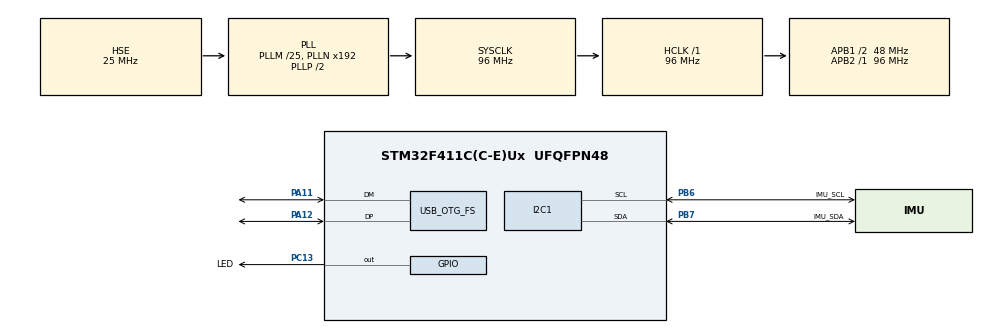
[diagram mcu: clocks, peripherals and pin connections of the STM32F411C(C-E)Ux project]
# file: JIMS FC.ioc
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I2C1.DualAddressMode=I2C_DUALADDRESS_DISABLE
I2C1.DutyCycle=I2C_DUTYCYCLE_2
I2C1.GeneralCallMode=I2C_GENERALCALL_ENABLE
I2C1.I2C_Mode=I2C_Fast
Mcu.Family=STM32F4
Mcu.Name=STM32F411C(C-E)Ux
Mcu.Package=UFQFPN48
NVIC.OTG_FS_IRQn=true\:0\:0\:false\:false\:true\:false\:true\:true
NVIC.PriorityGroup=NVIC_PRIORITYGROUP_4
PA11.Mode=Device_Only
PA11.Signal=USB_OTG_FS_DM
PA12.Mode=Device_Only
PA12.Signal=USB_OTG_FS_DP
PB6.GPIO_Label=IMU_SCL
PB6.Mode=I2C
PB6.Signal=I2C1_SCL
PB7.GPIO_Label=IMU_SDA
PB7.Mode=I2C
PB7.Signal=I2C1_SDA
PC13-ANTI_TAMP.GPIO_Label=LED
PC13-ANTI_TAMP.Signal=GPIO_Output
PH0\ -\ OSC_IN.Mode=HSE-External-Oscillator
PH0\ -\ OSC_IN.Signal=RCC_OSC_IN
PH1\ -\ OSC_OUT.Mode=HSE-External-Oscillator
PH1\ -\ OSC_OUT.Signal=RCC_OSC_OUT
ProjectManager.HeapSize=0x200
ProjectManager.StackSize=0x400
ProjectManager.TargetToolchain=STM32CubeIDE
RCC.48MHZClocksFreq_Value=48000000
RCC.AHBFreq_Value=96000000
RCC.APB1CLKDivider=RCC_HCLK_DIV2
RCC.APB1Freq_Value=48000000
RCC.APB1TimFreq_Value=96000000
RCC.APB2Freq_Value=96000000
RCC.APB2TimFreq_Value=96000000
RCC.CortexFreq_Value=96000000
RCC.HCLKFreq_Value=96000000
RCC.HSE_VALUE=25000000
RCC.HSI_VALUE=16000000
RCC.LSE_VALUE=32768
RCC.PLLM=25
RCC.SYSCLKFreq_VALUE=96000000
RCC.SYSCLKSource=RCC_SYSCLKSOURCE_PLLCLK
RCC.VCOOutputFreq_Value=192000000
USB_DEVICE.CLASS_NAME_FS=CDC
USB_DEVICE.VirtualMode=Cdc
USB_DEVICE.VirtualModeFS=Cdc_FS
USB_OTG_FS.VirtualMode=Device_Only
VP_USB_DEVICE_VS_USB_DEVICE_CDC_FS.Mode=CDC_FS
board=custom

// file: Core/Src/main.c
/* USER CODE BEGIN Header */
/**
 ******************************************************************************
 * @file           : main.c
 * @brief          : Main program body
 ******************************************************************************
 * @attention
 *
 * Copyright (c) 2023 STMicroelectronics.
 * All rights reserved.
 *
 * This software is licensed under terms that can be found in the LICENSE file
 * in the root directory of this software component.
 * If no LICENSE file comes with this software, it is provided AS-IS.
 *
 ******************************************************************************
 */
/* USER CODE END Header */
#include "main.h"
#include "usb_device.h"

/* USER CODE BEGIN Includes */
#include "MPU6050.h"
#include "FIRFilter.h"
#include "RCFilter.h"
#include "FirstOrderIIR.h"
#include <math.h>

/* USER CODE END Includes */

/* USER CODE BEGIN PD */
#define SAMPLE_TIME_LOG_MS 50 	/* 50ms ==> 20Hz */
#define SAMPLE_TIME_LED_MS 500 		/* 500ms ==> 2Hz */
#define LOOP_TIME_MS 1 /* 1000us == 1ms => 1kHz */
#define ALPHA 0.15f /* Alpha value for the complementary filter */
#define ACC_FILTER_ALPHA 0.10f /* Alpha value for accelerometer IIR filter */
#define GYRO_FILTER_ALPHA 0.01f /* Alpha value for gyro IIR filter */
/* USER CODE END PD */

I2C_HandleTypeDef hi2c1;

/* USER CODE BEGIN PV */
/* Create an IMU instance */
MPU6050 IMU;

/* Create FIR filter instances */
FIRFilter MAFilter[2];

/* Create a first order IIR filter instance */
 FirstOrderIIR lpfAcc[3];
 FirstOrderIIR lpfGyro[3];

/* USER CODE END PV */

void SystemClock_Config(void);
static void MX_GPIO_Init(void);
static void MX_I2C1_Init(void);

int main(void) {

	/* MCU Configuration--------------------------------------------------------*/

	/* Reset of all peripherals, Initializes the Flash interface and the Systick. */
	HAL_Init();

	/* Configure the system clock */
	SystemClock_Config();

	/* Initialize all configured peripherals */
	MX_GPIO_Init();
	MX_I2C1_Init();
	MX_USB_DEVICE_Init();
	/* USER CODE BEGIN 2 */

	uint8_t CDC_Transmit_FS(uint8_t*, int);

	/* Initialize IMU */
	MPU6050_Initialise(&IMU, &hi2c1);

	/* Initializes Moving Average filter (10 point) */
	FIRFilter_Init(&MAFilter[0]);

	FIRFilter_Init(&MAFilter[1]);

	/* Initialize First order IIR filter */
	for (int n = 0; n < 3; n++) {

		FirstOrderIIR_Init(&lpfAcc[n], ACC_FILTER_ALPHA);

		FirstOrderIIR_Init(&lpfGyro[n], GYRO_FILTER_ALPHA);

	}

	/* USB data buffer */
	char usbBuf[128];

	/* Timer variables */
	uint32_t timerLog = 0;
	uint32_t timerLed = 0;
	uint32_t timerLoop = 0;

	/* Estimated angles from the accelerometer */
	float phi_est_acc = 0;
	float theta_est_acc = 0;
	float phi_est_gyro = 0;
	float theta_est_gyro = 0;
	float theta_est = 0;
	float phi_est = 0;
	float phi_dot_eul = 0;
	float theta_dot_eul = 0;

	/* USER CODE END 2 */

	/* Infinite loop */
	while (1) {

		/* USER CODE BEGIN 3 */

		/* IMU update loop */
		if ((HAL_GetTick() - timerLoop) >= LOOP_TIME_MS) {

			/* Read Orientation */
			MPU6050_ReadOrientation(&IMU);

			/* Read temperature */
			MPU6050_ReadTemperature(&IMU);

			/* Read Accelerations */
			MPU6050_ReadAccelerations(&IMU);

			/* Fitering accelerometer data (test) */

			for (int n = 0; n < 3; n++) {

				FirstOrderIIR_Update(&lpfAcc[n], IMU.acc_mps2[n]);

				FirstOrderIIR_Update(&lpfGyro[n], IMU.gyro_deg[n]);

			}

			/* Getting theta and phi estimates from the accelerometer */
			phi_est_acc = atan2f(lpfAcc[1].out, lpfAcc[2].out);
			theta_est_acc = asinf(lpfAcc[0].out / 9.81);

			/* Getting theta and phi estimates from the gyroscope (by transforming the body rates to euler rates) */
			phi_dot_eul = lpfGyro[0].out
					+ tanf(theta_est)
							* (sinf(phi_est) * lpfGyro[1].out
									+ cosf(phi_est) * lpfGyro[2].out);

			theta_dot_eul = cosf(phi_est) * lpfGyro[1].out
					- sinf(phi_est) * lpfGyro[2].out;

			/* Integrating gyro values to get theta and phi estimates */
			theta_est_gyro = (SAMPLE_TIME_LOG_MS / 1000.0f) * theta_dot_eul;

			phi_est_gyro = (SAMPLE_TIME_LOG_MS / 1000.0f) * phi_dot_eul;

			/* Combining accelerometer estimates with integral of gyro readings */
			phi_est = ALPHA * phi_est_acc
					+ (1.0f - ALPHA) * (phi_est + phi_est_gyro);
			theta_est = ALPHA * theta_est_acc
					+ (1.0f - ALPHA) * (theta_est + theta_est_gyro);

//
//

			timerLoop += LOOP_TIME_MS;

		}

		/* Send data via virtual COM port */
		if ((HAL_GetTick() - timerLog) >= SAMPLE_TIME_LOG_MS) {

			/* printing out theta and phi estimates */
//			uint8_t usbBufLen = snprintf(usbBuf, 128, "%.3f, %.3f \r\n",
//					IMU.gyro_deg[2], lpfGyroRC[2].out[0]);

			/* Smoothen phi and theta estimates */
//			FIRFilter_Update(&MAFilter[0], theta_est);
//
//			FIRFilter_Update(&MAFilter[1], phi_est);

			/* printing out theta and phi estimates */
			uint8_t usbBufLen = snprintf(usbBuf, 128, "%.3f, %.3f \r\n",
					theta_est * RAD_TO_DEG, phi_est * RAD_TO_DEG);

//			uint8_t usbBufLen = snprintf(usbBuf, 128,
//					"%.2f, %.2f, %.2f, %.2f, %.2f, %.2f, %.2f\r\n",IMU.gyro_deg[0], IMU.gyro_deg[1], IMU.gyro_deg[2], IMU.acc_mps2[0],
//					IMU.acc_mps2[1], IMU.acc_mps2[2], IMU.temp_C);

			CDC_Transmit_FS((uint8_t*) usbBuf, usbBufLen);

			timerLog += SAMPLE_TIME_LOG_MS;

		}

		/* Toggle LED */
		if ((HAL_GetTick() - timerLed) >= SAMPLE_TIME_LED_MS) {

			HAL_GPIO_TogglePin(LED_GPIO_Port, LED_Pin);

			timerLed += SAMPLE_TIME_LED_MS;

		}

	}

	/* USER CODE END 3 */
}

void SystemClock_Config(void) {
	RCC_OscInitTypeDef RCC_OscInitStruct = { 0 };
	RCC_ClkInitTypeDef RCC_ClkInitStruct = { 0 };

	/** Configure the main internal regulator output voltage
	 */
	__HAL_RCC_PWR_CLK_ENABLE();
	__HAL_PWR_VOLTAGESCALING_CONFIG(PWR_REGULATOR_VOLTAGE_SCALE1);

	/** Initializes the RCC Oscillators according to the specified parameters
	 * in the RCC_OscInitTypeDef structure.
	 */
	RCC_OscInitStruct.OscillatorType = RCC_OSCILLATORTYPE_HSE;
	RCC_OscInitStruct.HSEState = RCC_HSE_ON;
	RCC_OscInitStruct.PLL.PLLState = RCC_PLL_ON;
	RCC_OscInitStruct.PLL.PLLSource = RCC_PLLSOURCE_HSE;
	RCC_OscInitStruct.PLL.PLLM = 25;
	RCC_OscInitStruct.PLL.PLLN = 192;
	RCC_OscInitStruct.PLL.PLLP = RCC_PLLP_DIV2;
	RCC_OscInitStruct.PLL.PLLQ = 4;
	if (HAL_RCC_OscConfig(&RCC_OscInitStruct) != HAL_OK) {
		Error_Handler();
	}

	/** Initializes the CPU, AHB and APB buses clocks
	 */
	RCC_ClkInitStruct.ClockType = RCC_CLOCKTYPE_HCLK | RCC_CLOCKTYPE_SYSCLK
			| RCC_CLOCKTYPE_PCLK1 | RCC_CLOCKTYPE_PCLK2;
	RCC_ClkInitStruct.SYSCLKSource = RCC_SYSCLKSOURCE_PLLCLK;
	RCC_ClkInitStruct.AHBCLKDivider = RCC_SYSCLK_DIV1;
	RCC_ClkInitStruct.APB1CLKDivider = RCC_HCLK_DIV2;
	RCC_ClkInitStruct.APB2CLKDivider = RCC_HCLK_DIV1;

	if (HAL_RCC_ClockConfig(&RCC_ClkInitStruct, FLASH_LATENCY_3) != HAL_OK) {
		Error_Handler();
	}
}

static void MX_I2C1_Init(void) {

	hi2c1.Instance = I2C1;
	hi2c1.Init.ClockSpeed = 400000;
	hi2c1.Init.DutyCycle = I2C_DUTYCYCLE_2;
	hi2c1.Init.OwnAddress1 = 0;
	hi2c1.Init.AddressingMode = I2C_ADDRESSINGMODE_7BIT;
	hi2c1.Init.DualAddressMode = I2C_DUALADDRESS_DISABLE;
	hi2c1.Init.OwnAddress2 = 0;
	hi2c1.Init.GeneralCallMode = I2C_GENERALCALL_ENABLE;
	hi2c1.Init.NoStretchMode = I2C_NOSTRETCH_DISABLE;
	if (HAL_I2C_Init(&hi2c1) != HAL_OK) {
		Error_Handler();
	}

}

static void MX_GPIO_Init(void) {
	GPIO_InitTypeDef GPIO_InitStruct = { 0 };

	/* GPIO Ports Clock Enable */
	__HAL_RCC_GPIOC_CLK_ENABLE();
	__HAL_RCC_GPIOH_CLK_ENABLE();
	__HAL_RCC_GPIOA_CLK_ENABLE();
	__HAL_RCC_GPIOB_CLK_ENABLE();

	/*Configure GPIO pin Output Level */
	HAL_GPIO_WritePin(LED_GPIO_Port, LED_Pin, GPIO_PIN_RESET);

	/*Configure GPIO pin : LED_Pin */
	GPIO_InitStruct.Pin = LED_Pin;
	GPIO_InitStruct.Mode = GPIO_MODE_OUTPUT_PP;
	GPIO_InitStruct.Pull = GPIO_NOPULL;
	GPIO_InitStruct.Speed = GPIO_SPEED_FREQ_LOW;
	HAL_GPIO_Init(LED_GPIO_Port, &GPIO_InitStruct);

}

void Error_Handler(void) {
	__disable_irq();
	while (1) {
	}
}
